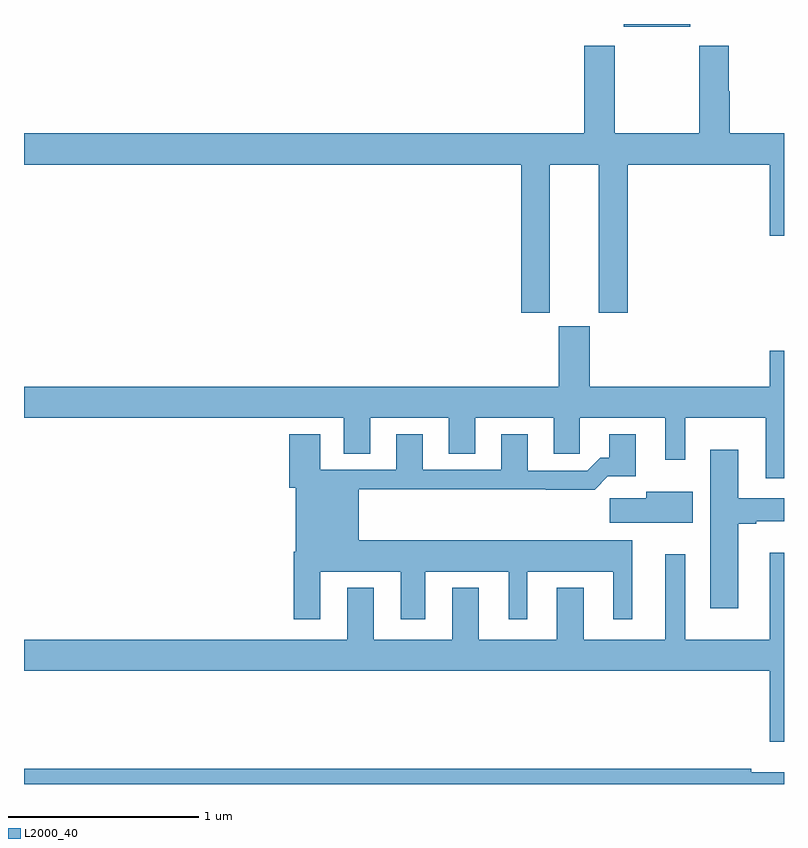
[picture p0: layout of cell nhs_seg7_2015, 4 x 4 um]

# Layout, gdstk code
import gdstk
lib = gdstk.Library(unit=1e-6, precision=1e-09)
def R(c, l, rs):  # rectangles x0, y0, x1, y1
    for r in rs: c.add(gdstk.rectangle(r[:2], r[2:], *l))
def P(c, l, *ps):  # polygons
    for p in ps: c.add(gdstk.Polygon(p, *l))
L2000_40 = (2000, 40)

nhs_seg7_2015 = lib.new_cell('nhs_seg7_2015')
R(nhs_seg7_2015, L2000_40, [(248.156,1023.986,248.506,1024)])
P(nhs_seg7_2015, L2000_40, [(247.768,1023.26),(248.024,1023.26),(248.024,1022.481),(248.177,1022.481),(248.177,1023.26),(248.924,1023.26),(248.924,1022.886),(249,1022.886),(249,1023.424),(248.714,1023.424),(248.714,1023.647),(248.709,1023.647),(248.709,1023.886),(248.554,1023.886),(248.554,1023.424),(248.109,1023.424),(248.109,1023.886),(247.949,1023.886),(247.949,1023.424),(245,1023.424),(245,1023.26),(247.616,1023.26),(247.616,1022.481),(247.768,1022.481)],
  [(249,1022.281),(248.924,1022.281),(248.924,1022.092),(247.978,1022.092),(247.978,1022.409),(247.814,1022.409),(247.814,1022.092),(245,1022.092),(245,1021.928),(246.683,1021.928),(246.683,1021.738),(246.823,1021.738),(246.823,1021.928),(247.235,1021.928),(247.235,1021.738),(247.375,1021.738),(247.375,1021.928),(247.787,1021.928),(247.787,1021.738),(247.926,1021.738),(247.926,1021.928),(248.375,1021.928),(248.375,1021.707),(248.479,1021.707),(248.479,1021.928),(248.903,1021.928),(248.903,1021.608),(249,1021.608)],
  [(246.559,1021.118),(246.983,1021.118),(246.983,1020.867),(247.111,1020.867),(247.111,1021.118),(247.55,1021.118),(247.55,1020.867),(247.648,1020.867),(247.648,1021.118),(248.102,1021.118),(248.102,1020.867),(248.2,1020.867),(248.2,1021.282),(246.763,1021.282),(246.763,1021.552),(247.747,1021.552),(247.747,1021.55),(248.003,1021.55),(248.072,1021.619),(248.221,1021.619),(248.221,1021.84),(248.081,1021.84),(248.081,1021.717),(248.032,1021.717),(247.965,1021.65),(247.651,1021.65),(247.651,1021.84),(247.511,1021.84),(247.511,1021.653),(247.099,1021.653),(247.099,1021.84),(246.959,1021.84),(246.959,1021.653),(246.559,1021.653),(246.559,1021.84),(246.395,1021.84),(246.395,1021.56),(246.431,1021.56),(246.431,1021.222),(246.419,1021.222),(246.419,1020.867),(246.559,1020.867)],
  [(248.758,1021.37),(248.854,1021.37),(248.854,1021.382),(249,1021.382),(249,1021.504),(248.758,1021.504),(248.758,1021.759),(248.612,1021.759),(248.612,1020.924),(248.758,1020.924)],
  [(248.521,1021.537),(248.276,1021.537),(248.276,1021.505),(248.082,1021.505),(248.082,1021.376),(248.521,1021.376)],
  [(249,1021.216),(248.924,1021.216),(248.924,1020.76),(248.479,1020.76),(248.479,1021.21),(248.375,1021.21),(248.375,1020.76),(247.945,1020.76),(247.945,1021.033),(247.805,1021.033),(247.805,1020.76),(247.393,1020.76),(247.393,1021.033),(247.253,1021.033),(247.253,1020.76),(246.841,1020.76),(246.841,1021.033),(246.701,1021.033),(246.701,1020.76),(245,1020.76),(245,1020.596),(248.924,1020.596),(248.924,1020.222),(249,1020.222)],
  [(249,1020.061),(248.828,1020.061),(248.828,1020.08),(245,1020.08),(245,1020),(249,1020)])

lib.write_gds('nhs_seg7_2015.gds')
